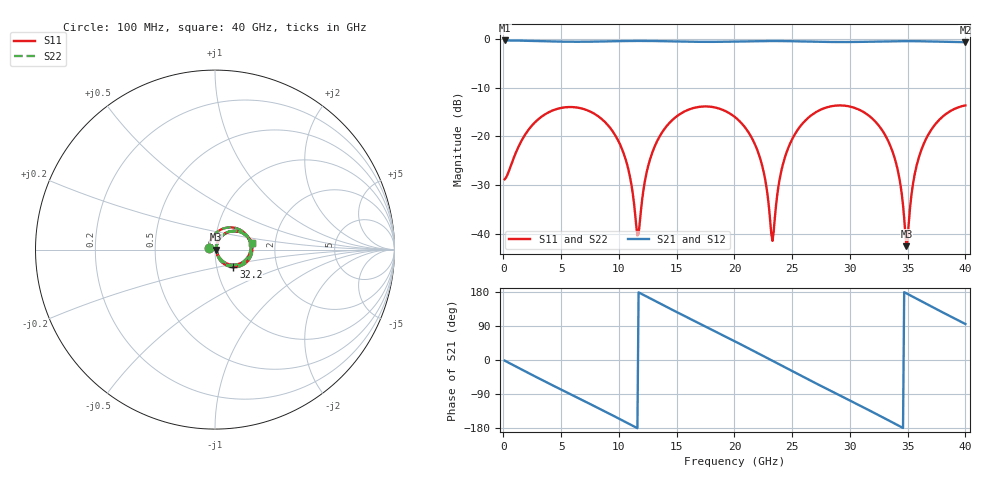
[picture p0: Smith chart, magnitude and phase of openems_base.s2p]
! thru_BV_ts_refinout2_out: 2×thru B.Cu, 8 mm
! stackup: as the board case
! ports: 1 near, 2 far
! openEMS 0.37.0, staircase, base mesh (dfine 0.035 mm), 370944 cells
# Hz S RI R 50
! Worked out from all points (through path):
!   400 points, 100 MHz to 40 GHz, reference 50 ohm
!   highest |S21| = -0.32 dB at 100 MHz (marker M1); lowest = -0.7 dB at 40 GHz (marker M2)
!   group delay of S21, straight-line fit = 43.3 ps
!   lowest |S11| = -42.5 dB at 34.9 GHz (marker M3), VSWR 1.02, Z = 50.8 - j0.0745 ohm
!   |S11| at or under -10 dB: start of sweep to end of sweep
!   |S22| runs from -42.5 to -13.6 dB; largest |S21 - S12| = 0
!   S11 on the Smith chart (normalised r, x): 100 MHz: 0.93, +0.01; 32.2 GHz: 1.20, -0.24; 40 GHz: 1.51, +0.12
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1e8  -0.0358 0.00648  0.9635 -0.0269  0.9635 -0.0269  -0.0358 0.00648
3.7e9  0.1251 0.1172  0.4967 -0.8038  0.4967 -0.8038  0.1251 0.1172
6.8e9  0.1919 -0.0235  -0.249 -0.9012  -0.249 -0.9012  0.1919 -0.0235
1.02e10  0.0439 -0.0641  -0.8791 -0.3581  -0.8791 -0.3581  0.0439 -0.0641
1.1e10  0.0181 -0.0315  -0.9388 -0.158  -0.9388 -0.158  0.0181 -0.0315
1.16e10  0.00955 -0.00123  -0.953 -0.000939  -0.953 -0.000939  0.00955 -0.00123
1.24e10  0.0145 0.0404  -0.9296 0.2082  -0.9296 0.2082  0.0145 0.0404
1.34e10  0.0448 0.0828  -0.835 0.4522  -0.835 0.4522  0.0448 0.0828
1.68e10  0.1947 0.0454  -0.1439 0.9225  -0.1439 0.9225  0.1947 0.0454
2.01e10  0.1279 -0.0896  0.6249 0.7013  0.6249 0.7013  0.1279 -0.0896
2.22e10  0.0284 -0.0541  0.9154 0.2506  0.9154 0.2506  0.0284 -0.0541
2.33e10  0.00846 0.00103  0.9502 -0.0367  0.9502 -0.0367  0.00846 0.00103
2.44e10  0.0238 0.0579  0.8933 -0.321  0.8933 -0.321  0.0238 0.0579
2.67e10  0.1325 0.1004  0.5236 -0.7776  0.5236 -0.7776  0.1325 0.1004
2.94e10  0.2074 -0.00886  -0.1242 -0.9203  -0.1242 -0.9203  0.2074 -0.00886
3.22e10  0.103 -0.0979  -0.7305 -0.5896  -0.7305 -0.5896  0.103 -0.0979
3.34e10  0.0426 -0.0742  -0.8885 -0.3212  -0.8885 -0.3212  0.0426 -0.0742
3.43e10  0.014 -0.0336  -0.9434 -0.0899  -0.9434 -0.0899  0.014 -0.0336
3.49e10  0.00748 -0.000733  -0.9457 0.0697  -0.9457 0.0697  0.00748 -0.000733
3.55e10  0.0122 0.0325  -0.92 0.2275  -0.92 0.2275  0.0122 0.0325
3.64e10  0.0388 0.075  -0.8313 0.4487  -0.8313 0.4487  0.0388 0.075
4e10  0.2047 0.038  -0.0801 0.9221  -0.0801 0.9221  0.2047 0.038
